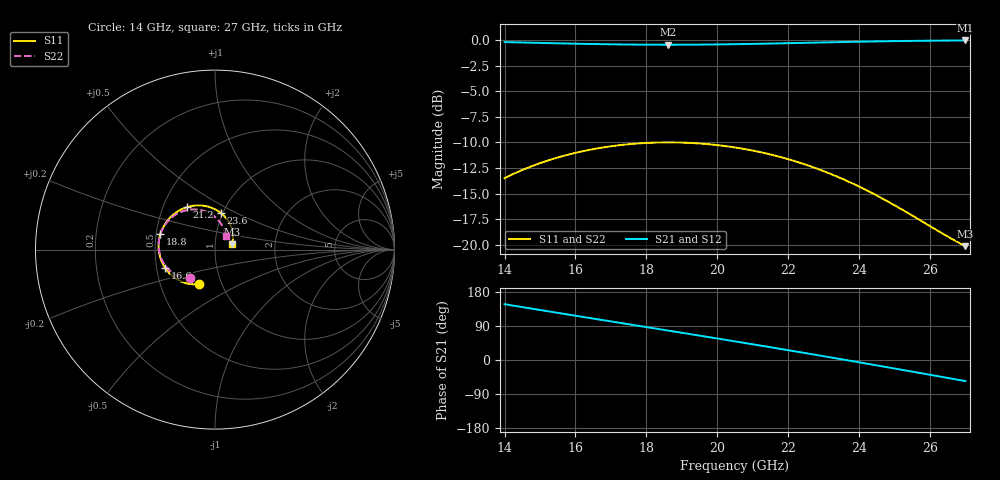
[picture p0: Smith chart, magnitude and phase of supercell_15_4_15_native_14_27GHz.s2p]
! Touchstone file exported from HFSS 2026.1.0
!  File:  C:/Users/urbaneja/Ansys/15-4-15_super_cell.aedt
!  Generated:  02:49:18 PM Aug 12, 2026
!  Design:  HFSSDesign_Supercell_15_4_15
!  Project:  15-4-15_super_cell
!  Setup:  Setup1
!  Solution:  Sweep_16_2_16_aux
! Variables:
!  stub_length = 12um
# GHz S MA R 50.000000
! Terminal data exported
! Port[1] = Port1
! Port[2] = Port2
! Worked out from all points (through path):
!   66 points, 14 GHz to 27 GHz, reference 50 ohm
!   highest |S21| = -0.04 dB at 27 GHz (marker M1); lowest = -0.5 dB at 18.6 GHz (marker M2)
!   group delay of S21, straight-line fit = 43.1 ps
!   lowest |S11| = -20.1 dB at 27 GHz (marker M3), VSWR 1.22, Z = 60.3 + j3.54 ohm
!   |S11| at or under -10 dB: start of sweep to 18.35 GHz; 18.89 GHz to end of sweep
!   |S22| runs from -20.1 to -10.0 dB; largest |S21 - S12| = 0.00017
!   S11 on the Smith chart (normalised r, x): 14 GHz: 0.78, -0.31; 16.6 GHz: 0.56, -0.13; 18.8 GHz: 0.53, +0.10; 21.2 GHz: 0.66, +0.34; 23.6 GHz: 0.98, +0.42; 27 GHz: 1.21, +0.07
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14  0.2119 -114.9  0.9773 147.2  0.9773 147.2  0.2119 -130.7
! Gamma 0 12432.6813862206 0 11760.5683270139
! Port Impedance 50 0 50 0
14.6  0.236 -125.5  0.9717 138.1  0.9717 138.1  0.236 -138.4
15.2  0.2575 -135.9  0.9663 128.9  0.9663 128.9  0.2575 -146.3
16.2  0.2866 -152.8  0.9581 113.8  0.9581 113.8  0.2866 -159.5
16.6  0.2956 -159.4  0.9553 107.8  0.9553 107.8  0.2956 -164.9
17.4  0.3089 -172.7  0.9511 95.8  0.9511 95.8  0.3089 -175.6
17.8  0.3131 -179.3  0.9497 89.9  0.9497 89.9  0.3131 179.0
18.4  0.3164 170.8  0.9486 80.9  0.9486 80.9  0.3164 170.9
18.6  0.3166 167.5  0.9485 77.9  0.9485 77.9  0.3166 168.2
18.8  0.3165 164.2  0.9486 74.9  0.9486 74.9  0.3165 165.5
19.6  0.3118 151.0  0.9501 62.8  0.9501 62.8  0.3118 154.6
20.6  0.2972 134.2  0.9548 47.6  0.9548 47.6  0.2972 141.0
21.2  0.2841 124.0  0.9588 38.3  0.9588 38.3  0.2841 132.7
22  0.2622 110.1  0.965 25.9  0.965 25.9  0.2622 121.7
22.8  0.2362 95.8  0.9716 13.2  0.9718 13.2  0.2362 110.6
23.6  0.2076 81.3  0.9782 0.4  0.9782 0.4  0.2076 99.5
24.4  0.1779 66.3  0.984 -12.6  0.984 -12.6  0.1779 88.5
25  0.1563 54.9  0.9877 -22.4  0.9877 -22.4  0.1563 80.2
25.4  0.1425 47.2  0.9898 -29.0  0.9898 -29.0  0.1425 74.7
26  0.1236 35.7  0.9923 -39.0  0.9923 -39.0  0.1236 66.3
26.4  0.1125 28.1  0.9936 -45.7  0.9936 -45.7  0.1125 60.6
27  0.09866 17.1  0.9951 -55.7  0.9951 -55.7  0.09866 51.4
